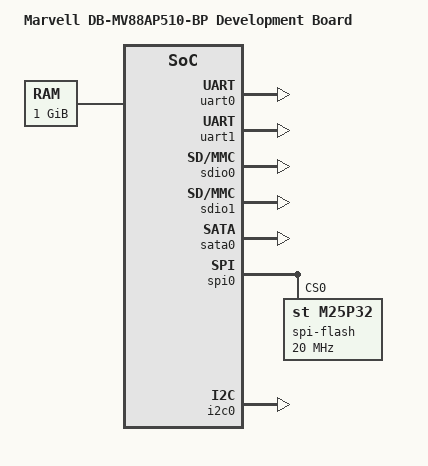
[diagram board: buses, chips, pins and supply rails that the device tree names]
// SPDX-License-Identifier: GPL-2.0
/dts-v1/;

#include "dove.dtsi"

/ {
	model = "Marvell DB-MV88AP510-BP Development Board";
	compatible = "marvell,dove-db", "marvell,dove";

	memory {
		device_type = "memory";
		reg = <0x00000000 0x40000000>;
	};

	chosen {
		bootargs = "console=ttyS0,115200n8 earlyprintk";
	};
};

&uart0 { status = "okay"; };
&uart1 { status = "okay"; };
&sdio0 { status = "okay"; };
&sdio1 { status = "okay"; };
&sata0 { status = "okay"; };

&spi0 {
	status = "okay";

	/* spi0.0: 4M Flash ST-M25P32-VMF6P */
	spi-flash@0 {
		compatible = "st,m25p32";
		spi-max-frequency = <20000000>;
		reg = <0>;
	};
};

&i2c0 {
	  status = "okay";
};
